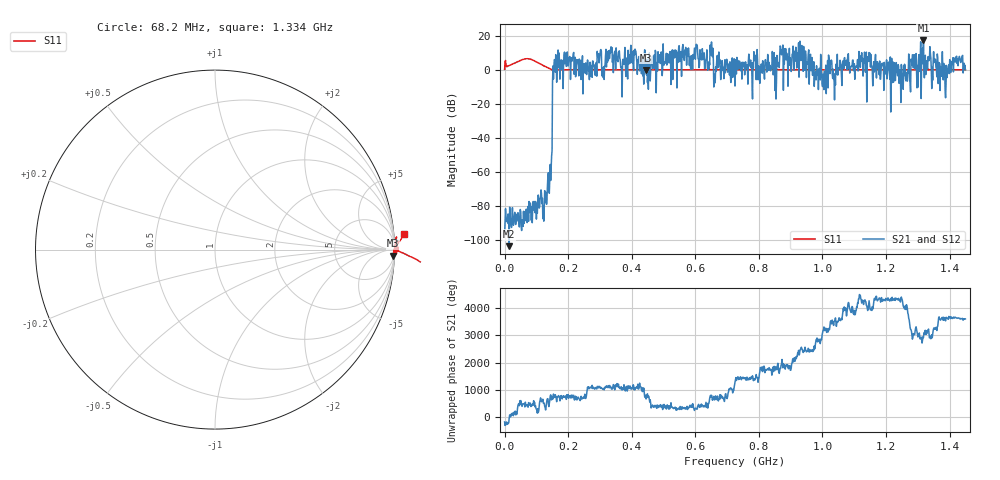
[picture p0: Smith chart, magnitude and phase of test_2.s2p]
! Created with skrf 1.11.0 (http://scikit-rf.org).
# Hz S RI R 50.0
!freq ReS11 ImS11 ReS21 ImS21 ReS12 ImS12 ReS22 ImS22
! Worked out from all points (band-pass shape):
!   1001 points, 50 kHz to 1.45 GHz, reference 50 ohm
!   highest |S21| = 17.28 dB at 1.318 GHz (marker M1); lowest = -103.5 dB at 14.55 MHz (marker M2)
!   |S21| within 3 dB of the highest: 397.2776 MHz to 397.3697 MHz (92.14 kHz wide, 0.0232 % of centre); 498.7359 MHz to 498.9865 MHz (250.7 kHz wide, 0.0502 % of centre) (the widest 2 of 13)
!   lowest |S11| = -0.1 dB at 445.2 MHz (marker M3), VSWR 296.34, Z = 570 - j2.85e+03 ohm
!   |S11| at or under -10 dB: nowhere
!   |S22| runs from - to - dB; largest |S21 - S12| = 0
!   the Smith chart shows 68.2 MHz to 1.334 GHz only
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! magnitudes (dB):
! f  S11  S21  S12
! 50 kHz  0.3  -96.4  -96.4
! 14.55 MHz  2.6  -103.5  -103.5
! 126.2 MHz  2.1  -70.9  -70.9
! 142.1 MHz  0.7  -63.9  -63.9
! 159.5 MHz  0.0  -1.3  -1.3
! 242.2 MHz  0.1  4.2  4.2
! 333.5 MHz  0.1  10.1  10.1
! 445.2 MHz  -0.1  0.1  0.1
! 484.3 MHz  0.0  4.9  4.9
! 600.3 MHz  0.0  6.3  6.3
! 725 MHz  0.1  -9.5  -9.5
! 852.6 MHz  0.2  7.1  7.1
! 868.6 MHz  0.1  13.6  13.6
! 929.5 MHz  0.0  16.8  16.8
! 967.2 MHz  0.0  7.3  7.3
! 1.005 GHz  0.0  -11.6  -11.6
! 1.024 GHz  0.0  -2.2  -2.2
! 1.038 GHz  0.0  -17.6  -17.6
! 1.148 GHz  0.1  5.1  5.1
! 1.209 GHz  0.0  3.4  3.4
! 1.318 GHz  0.0  17.3  17.3
! 1.45 GHz  0.0  0.1  0.1
